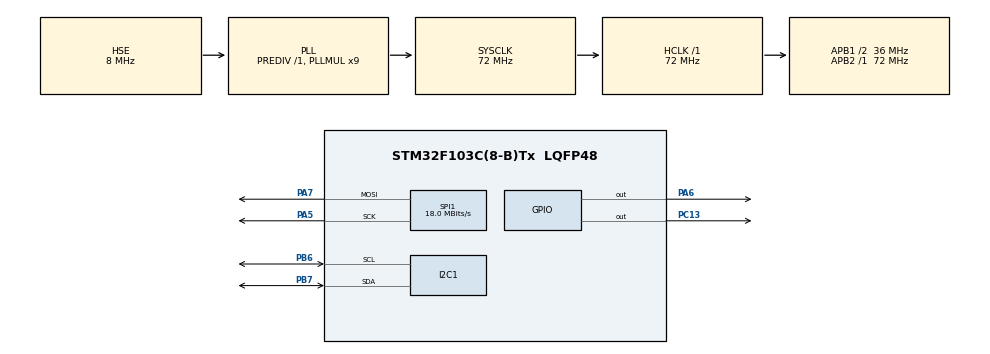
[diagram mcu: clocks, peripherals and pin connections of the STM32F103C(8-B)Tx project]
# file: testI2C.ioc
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I2C1.I2C_Mode=I2C_Fast
Mcu.Family=STM32F1
Mcu.Name=STM32F103C(8-B)Tx
Mcu.Package=LQFP48
NVIC.PriorityGroup=NVIC_PRIORITYGROUP_4
NVIC.TIM1_UP_IRQn=true\:0\:0\:false\:false\:true\:true\:true\:true
PA13.Mode=Trace_Asynchronous_SW
PA13.Signal=SYS_JTMS-SWDIO
PA14.Mode=Trace_Asynchronous_SW
PA14.Signal=SYS_JTCK-SWCLK
PA5.Mode=TX_Only_Simplex_Unidirect_Master
PA5.Signal=SPI1_SCK
PA6.Signal=GPIO_Output
PA7.Mode=TX_Only_Simplex_Unidirect_Master
PA7.Signal=SPI1_MOSI
PB3.Mode=Trace_Asynchronous_SW
PB3.Signal=SYS_JTDO-TRACESWO
PB6.Mode=I2C
PB6.Signal=I2C1_SCL
PB7.Mode=I2C
PB7.Signal=I2C1_SDA
PC13-TAMPER-RTC.Signal=GPIO_Output
PD0-OSC_IN.Mode=HSE-External-Oscillator
PD0-OSC_IN.Signal=RCC_OSC_IN
PD1-OSC_OUT.Mode=HSE-External-Oscillator
PD1-OSC_OUT.Signal=RCC_OSC_OUT
ProjectManager.HeapSize=0x200
ProjectManager.StackSize=0x400
ProjectManager.TargetToolchain=STM32CubeIDE
RCC.ADCPresc=RCC_ADCPCLK2_DIV6
RCC.AHBFreq_Value=72000000
RCC.APB1CLKDivider=RCC_HCLK_DIV2
RCC.APB1Freq_Value=36000000
RCC.APB1TimFreq_Value=72000000
RCC.APB2Freq_Value=72000000
RCC.APB2TimFreq_Value=72000000
RCC.HCLKFreq_Value=72000000
RCC.PLLMUL=RCC_PLL_MUL9
RCC.PLLSourceVirtual=RCC_PLLSOURCE_HSE
RCC.SYSCLKFreq_VALUE=72000000
RCC.SYSCLKSource=RCC_SYSCLKSOURCE_PLLCLK
RCC.USBFreq_Value=72000000
SPI1.BaudRatePrescaler=SPI_BAUDRATEPRESCALER_4
SPI1.CalculateBaudRate=18.0 MBits/s
SPI1.Direction=SPI_DIRECTION_2LINES
SPI1.Mode=SPI_MODE_MASTER
SPI1.VirtualType=VM_MASTER
TIM1.Period=49999
TIM1.Prescaler=1339
VP_TIM1_VS_ClockSourceINT.Mode=Internal
board=custom

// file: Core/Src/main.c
/* USER CODE BEGIN Header */
/**
 ******************************************************************************
 * @file           : main.c
 * @brief          : Main program body
 ******************************************************************************
 * @attention
 *
 * Copyright (c) 2024 STMicroelectronics.
 * All rights reserved.
 *
 * This software is licensed under terms that can be found in the LICENSE file
 * in the root directory of this software component.
 * If no LICENSE file comes with this software, it is provided AS-IS.
 *
 ******************************************************************************
 */
/* USER CODE END Header */
#include "main.h"

/* USER CODE BEGIN Includes */
#include <stdio.h>
#include "lcd1602_i2c_lib.h"
/* USER CODE END Includes */

I2C_HandleTypeDef hi2c1;

SPI_HandleTypeDef hspi1;

TIM_HandleTypeDef htim1;

/* USER CODE BEGIN PV */
uint8_t aTxBuffer[1] = { 0 };
#define cs_set() HAL_GPIO_WritePin(GPIOA, GPIO_PIN_6, GPIO_PIN_RESET)
#define cs_reset() HAL_GPIO_WritePin(GPIOA, GPIO_PIN_6, GPIO_PIN_SET)
#define cs_strob() cs_reset();cs_set()
/* USER CODE END PV */

void SystemClock_Config(void);
static void MX_GPIO_Init(void);
static void MX_I2C1_Init(void);
static void MX_TIM1_Init(void);
static void MX_SPI1_Init(void);

/* USER CODE BEGIN 0 */
uint8_t symbol_transform(unsigned char symbol) {
	uint8_t sym_to_indicator = 0;
	switch (symbol) {
	case 1:
		sym_to_indicator = 0b11111001;
		break;
	case 2:
		sym_to_indicator = 0b10100100;
		break;
	case 3:
		sym_to_indicator = 0b10110000;
		break;
	case 4:
		sym_to_indicator = 0b10011001;
		break;
	case 5:
		sym_to_indicator = 0b10010010;
		break;
	case 6:
		sym_to_indicator = 0b10000010;
		break;
	case 7:
		sym_to_indicator = 0b11111000;
		break;
	case 8:
		sym_to_indicator = 0b10000000;
		break;
	case 9:
		sym_to_indicator = 0b10010000;
		break;
	case 0:
		sym_to_indicator = 0b11000000;
		break;
	}
	return sym_to_indicator;
}

int _write(int file, uint8_t *ptr, int len) {

	for (int DataIdx = 0; DataIdx < len; DataIdx++) {
		ITM_SendChar(*ptr++);
	}
	return len;
}

void HAL_TIM_PeriodElapsedCallback(TIM_HandleTypeDef *htim) {
	if (htim->Instance == TIM1) //check if the interrupt comes from TIM1
	{
//		HAL_SPI_Transmit(&hspi1, (uint8_t*) aTxBuffer, 1, 5000);
//		lcd1602_SetCursor(0, 1);
//		lcd1602_Print_text("test message");
//		lcd1602_Move_to_the_left();
//		HAL_GPIO_TogglePin(GPIOC, GPIO_PIN_13);
	}
}
/* USER CODE END 0 */

int main(void) {

	/* USER CODE BEGIN 1 */
	uint8_t i = 0;
	uint8_t data;
	/* USER CODE END 1 */

	/* MCU Configuration--------------------------------------------------------*/

	/* Reset of all peripherals, Initializes the Flash interface and the Systick. */
	HAL_Init();

	/* Configure the system clock */
	SystemClock_Config();

	/* Initialize all configured peripherals */
	MX_GPIO_Init();
	MX_I2C1_Init();
	MX_TIM1_Init();
	MX_SPI1_Init();
	/* USER CODE BEGIN 2 */

	__HAL_TIM_CLEAR_FLAG(&htim1, TIM_SR_UIF);
	HAL_TIM_Base_Start_IT(&htim1);
	HAL_Delay(100);
	lcd1602_Init();
	lcd1602_Backlight(1);
	/* USER CODE END 2 */

	/* Infinite loop */
	while (1) {

		/* USER CODE BEGIN 3 */
		for (i = 0; i < 10; i++) {
			data = symbol_transform(i);
			HAL_SPI_Transmit(&hspi1, &data, 1, 5000);//SN74HC595N
//		    while(!(SPI1->SR&SPI_SR_TXE)) {}
//		    *(volatile uint8_t*)&SPI1->DR = data;
//		    SPI1->CR1 &= ~SPI_CR1_SPE;
//		    SPI1->CR1 |= SPI_CR1_SPE;
			cs_strob();
			HAL_Delay(1000);

		}
//		lcd1602_SetCursor(0, 0);
//		lcd1602_Print_text("test message");
//		lcd1602_Move_to_the_left();
//		HAL_Delay(300);

	}
	/* USER CODE END 3 */
}

void SystemClock_Config(void) {
	RCC_OscInitTypeDef RCC_OscInitStruct = { 0 };
	RCC_ClkInitTypeDef RCC_ClkInitStruct = { 0 };

	/** Initializes the RCC Oscillators according to the specified parameters
	 * in the RCC_OscInitTypeDef structure.
	 */
	RCC_OscInitStruct.OscillatorType = RCC_OSCILLATORTYPE_HSE;
	RCC_OscInitStruct.HSEState = RCC_HSE_ON;
	RCC_OscInitStruct.HSEPredivValue = RCC_HSE_PREDIV_DIV1;
	RCC_OscInitStruct.HSIState = RCC_HSI_ON;
	RCC_OscInitStruct.PLL.PLLState = RCC_PLL_ON;
	RCC_OscInitStruct.PLL.PLLSource = RCC_PLLSOURCE_HSE;
	RCC_OscInitStruct.PLL.PLLMUL = RCC_PLL_MUL9;
	if (HAL_RCC_OscConfig(&RCC_OscInitStruct) != HAL_OK) {
		Error_Handler();
	}

	/** Initializes the CPU, AHB and APB buses clocks
	 */
	RCC_ClkInitStruct.ClockType = RCC_CLOCKTYPE_HCLK | RCC_CLOCKTYPE_SYSCLK | RCC_CLOCKTYPE_PCLK1 | RCC_CLOCKTYPE_PCLK2;
	RCC_ClkInitStruct.SYSCLKSource = RCC_SYSCLKSOURCE_PLLCLK;
	RCC_ClkInitStruct.AHBCLKDivider = RCC_SYSCLK_DIV1;
	RCC_ClkInitStruct.APB1CLKDivider = RCC_HCLK_DIV2;
	RCC_ClkInitStruct.APB2CLKDivider = RCC_HCLK_DIV1;

	if (HAL_RCC_ClockConfig(&RCC_ClkInitStruct, FLASH_LATENCY_2) != HAL_OK) {
		Error_Handler();
	}
}

static void MX_I2C1_Init(void) {

	hi2c1.Instance = I2C1;
	hi2c1.Init.ClockSpeed = 400000;
	hi2c1.Init.DutyCycle = I2C_DUTYCYCLE_2;
	hi2c1.Init.OwnAddress1 = 0;
	hi2c1.Init.AddressingMode = I2C_ADDRESSINGMODE_7BIT;
	hi2c1.Init.DualAddressMode = I2C_DUALADDRESS_DISABLE;
	hi2c1.Init.OwnAddress2 = 0;
	hi2c1.Init.GeneralCallMode = I2C_GENERALCALL_DISABLE;
	hi2c1.Init.NoStretchMode = I2C_NOSTRETCH_DISABLE;
	if (HAL_I2C_Init(&hi2c1) != HAL_OK) {
		Error_Handler();
	}

}

static void MX_SPI1_Init(void) {

	/* SPI1 parameter configuration*/
	hspi1.Instance = SPI1;
	hspi1.Init.Mode = SPI_MODE_MASTER;
	hspi1.Init.Direction = SPI_DIRECTION_2LINES;
	hspi1.Init.DataSize = SPI_DATASIZE_8BIT;
	hspi1.Init.CLKPolarity = SPI_POLARITY_LOW;
	hspi1.Init.CLKPhase = SPI_PHASE_1EDGE;
	hspi1.Init.NSS = SPI_NSS_SOFT;
	hspi1.Init.BaudRatePrescaler = SPI_BAUDRATEPRESCALER_4;
	hspi1.Init.FirstBit = SPI_FIRSTBIT_MSB;
	hspi1.Init.TIMode = SPI_TIMODE_DISABLE;
	hspi1.Init.CRCCalculation = SPI_CRCCALCULATION_DISABLE;
	hspi1.Init.CRCPolynomial = 10;
	if (HAL_SPI_Init(&hspi1) != HAL_OK) {
		Error_Handler();
	}

}

static void MX_TIM1_Init(void) {

	TIM_ClockConfigTypeDef sClockSourceConfig = { 0 };
	TIM_MasterConfigTypeDef sMasterConfig = { 0 };

	htim1.Instance = TIM1;
	htim1.Init.Prescaler = 1339;
	htim1.Init.CounterMode = TIM_COUNTERMODE_UP;
	htim1.Init.Period = 49999;
	htim1.Init.ClockDivision = TIM_CLOCKDIVISION_DIV1;
	htim1.Init.RepetitionCounter = 0;
	htim1.Init.AutoReloadPreload = TIM_AUTORELOAD_PRELOAD_DISABLE;
	if (HAL_TIM_Base_Init(&htim1) != HAL_OK) {
		Error_Handler();
	}
	sClockSourceConfig.ClockSource = TIM_CLOCKSOURCE_INTERNAL;
	if (HAL_TIM_ConfigClockSource(&htim1, &sClockSourceConfig) != HAL_OK) {
		Error_Handler();
	}
	sMasterConfig.MasterOutputTrigger = TIM_TRGO_RESET;
	sMasterConfig.MasterSlaveMode = TIM_MASTERSLAVEMODE_DISABLE;
	if (HAL_TIMEx_MasterConfigSynchronization(&htim1, &sMasterConfig) != HAL_OK) {
		Error_Handler();
	}

}

static void MX_GPIO_Init(void) {
	GPIO_InitTypeDef GPIO_InitStruct = { 0 };

	/* GPIO Ports Clock Enable */
	__HAL_RCC_GPIOC_CLK_ENABLE();
	__HAL_RCC_GPIOD_CLK_ENABLE();
	__HAL_RCC_GPIOA_CLK_ENABLE();
	__HAL_RCC_GPIOB_CLK_ENABLE();

	/*Configure GPIO pin Output Level */
	HAL_GPIO_WritePin(GPIOC, GPIO_PIN_13, GPIO_PIN_RESET);

	/*Configure GPIO pin Output Level */
	HAL_GPIO_WritePin(GPIOA, GPIO_PIN_6, GPIO_PIN_RESET);

	/*Configure GPIO pin : PC13 */
	GPIO_InitStruct.Pin = GPIO_PIN_13;
	GPIO_InitStruct.Mode = GPIO_MODE_OUTPUT_PP;
	GPIO_InitStruct.Pull = GPIO_NOPULL;
	GPIO_InitStruct.Speed = GPIO_SPEED_FREQ_LOW;
	HAL_GPIO_Init(GPIOC, &GPIO_InitStruct);

	/*Configure GPIO pin : PA6 */
	GPIO_InitStruct.Pin = GPIO_PIN_6;
	GPIO_InitStruct.Mode = GPIO_MODE_OUTPUT_PP;
	GPIO_InitStruct.Pull = GPIO_NOPULL;
	GPIO_InitStruct.Speed = GPIO_SPEED_FREQ_LOW;
	HAL_GPIO_Init(GPIOA, &GPIO_InitStruct);

}

void Error_Handler(void) {
	__disable_irq();
	while (1) {
	}
}
